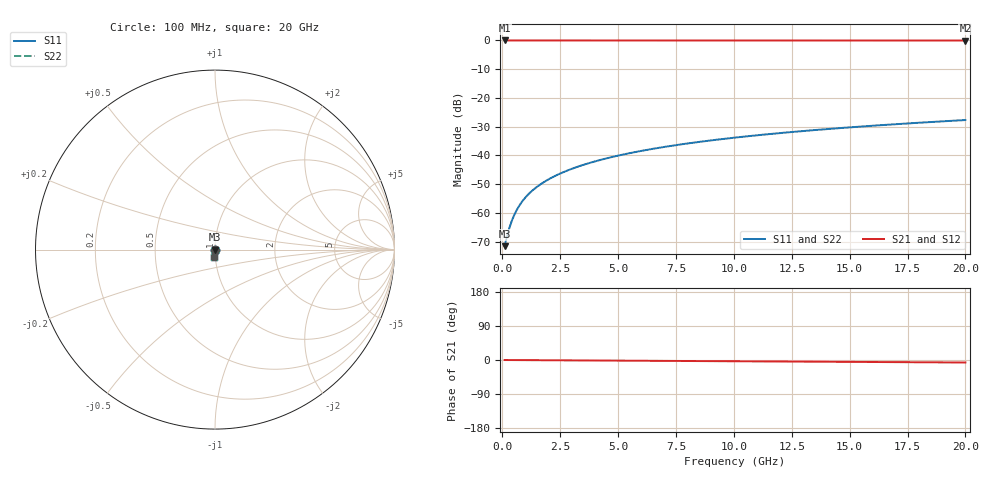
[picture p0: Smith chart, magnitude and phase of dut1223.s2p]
! Touchstone file exported from HFSS 2026.1.0
!  File:  C:/ffzhzh/LocalFiles/Ansys_Project_Files/temp_train_TSV_1223_1783193102_43440.aedt
!  Generated:  03:26:31 AM Jul  5, 2026
!  Design:  TSV
!  Project:  temp_train_TSV_1223_1783193102_43440
! Variables:
!  h_bsmrdl = 2um
!  h_ox = 20um
!  h_rdl = 5um
!  h_sub = 65.97um
!  h_tmrdl = 5um
!  h_tsv = 65.97um
!  h_via = 3um
!  l_bsmrdl = 300um
!  l_sub = 413.36um
!  l_tmrdl = 200um
!  m_sub = 200um
!  pitch = 19.5um
!  r_tsv = 6.68um
!  s_tmrdl = 10um
!  w_bsmrdl = 18um
!  w_sub = 500um
!  w_tmrdl = 12um
!  x_tsv_center1 = 206um
!  x_tsv_center2 = 524um
!  x_tsv_center3 = 736um
!  x_tsv_center4 = 1054um
!  x_tsv_center5 = 1266um
!  x_tsv_center6 = 1584um
# GHz S MA R 50.000000
! Terminal data exported
! Port[1] = TSV1_1_T1
! Port[2] = TSV1_1_T2
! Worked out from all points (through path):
!   200 points, 100 MHz to 20 GHz, reference 50 ohm
!   highest |S21| = 0.00 dB at 100 MHz (marker M1); lowest = 0.0 dB at 20 GHz (marker M2)
!   lowest |S11| = -71.6 dB at 100 MHz (marker M3), VSWR 1.00, Z = 50 - j0.0147 ohm
!   |S11| at or under -10 dB: start of sweep to end of sweep
!   |S22| runs from -71.6 to -27.7 dB; largest |S21 - S12| = 3e-15
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0.1  0.0002633 -34.0  0.9998 -0.0  0.9998 -0.0  0.0002633 -34.0
! Gamma 0 0 0 0
! Port Impedance 50 0 50 0
0.2  0.0003847 -51.6  0.9998 -0.1  0.9998 -0.1  0.0003847 -51.6
0.3  0.0005375 -60.2  0.9997 -0.1  0.9997 -0.1  0.0005375 -60.2
0.4  0.0007076 -65.1  0.9997 -0.1  0.9997 -0.1  0.0007076 -65.1
0.5  0.0008887 -68.3  0.9997 -0.2  0.9997 -0.2  0.0008887 -68.3
0.6  0.001077 -70.8  0.9996 -0.2  0.9996 -0.2  0.001077 -70.8
0.8  0.001463 -74.2  0.9996 -0.3  0.9996 -0.3  0.001463 -74.2
1.1  0.002053 -77.6  0.9995 -0.4  0.9995 -0.4  0.002053 -77.6
1.3  0.002449 -79.1  0.9995 -0.4  0.9995 -0.4  0.002449 -79.1
1.5  0.002845 -80.3  0.9995 -0.5  0.9995 -0.5  0.002845 -80.3
1.8  0.003439 -81.6  0.9995 -0.6  0.9995 -0.6  0.003439 -81.6
2.1  0.004036 -82.6  0.9994 -0.7  0.9994 -0.7  0.004036 -82.6
2.7  0.005234 -84.0  0.9994 -0.9  0.9994 -0.9  0.005234 -84.0
3.5  0.006845 -85.2  0.9993 -1.2  0.9993 -1.2  0.006845 -85.2
4.2  0.008269 -85.9  0.9992 -1.4  0.9992 -1.4  0.008269 -85.9
5  0.009909 -86.7  0.9991 -1.7  0.9991 -1.7  0.009909 -86.7
6.8  0.01363 -88.0  0.9989 -2.3  0.9989 -2.3  0.01363 -88.0
8.3  0.01675 -88.9  0.9987 -2.8  0.9987 -2.8  0.01675 -88.9
10.1  0.02051 -89.9  0.9985 -3.4  0.9985 -3.4  0.02051 -89.9
13.4  0.0274 -91.4  0.9982 -4.4  0.9982 -4.4  0.0274 -91.4
16.7  0.0343 -92.8  0.9978 -5.5  0.9978 -5.5  0.0343 -92.8
20  0.04122 -94.1  0.9974 -6.6  0.9974 -6.6  0.04122 -94.1
